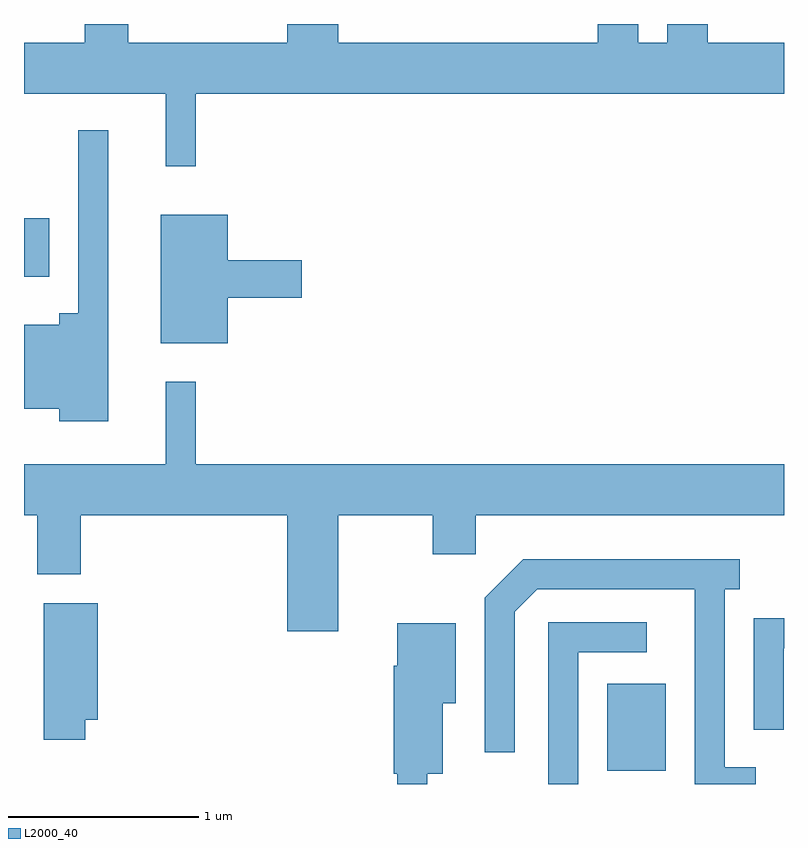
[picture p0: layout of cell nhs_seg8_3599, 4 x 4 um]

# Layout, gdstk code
import gdstk
lib = gdstk.Library(unit=1e-6, precision=1e-09)
def R(c, l, rs):  # rectangles x0, y0, x1, y1
    for r in rs: c.add(gdstk.rectangle(r[:2], r[2:], *l))
def P(c, l, *ps):  # polygons
    for p in ps: c.add(gdstk.Polygon(p, *l))
L2000_40 = (2000, 40)

nhs_seg8_3599 = lib.new_cell('nhs_seg8_3599')
R(nhs_seg8_3599, L2000_40, [(296.681,1828.411,296.989,1828.869), (293.611,1831.011,293.744,1831.319)])
P(nhs_seg8_3599, L2000_40, [(294.514,1831.976),(297.611,1831.976),(297.611,1832.244),(297.209,1832.244),(297.209,1832.342),(296.996,1832.342),(296.996,1832.244),(296.844,1832.244),(296.844,1832.342),(296.631,1832.342),(296.631,1832.244),(295.264,1832.244),(295.264,1832.342),(294.996,1832.342),(294.996,1832.244),(294.159,1832.244),(294.159,1832.342),(293.931,1832.342),(293.931,1832.244),(293.611,1832.244),(293.611,1831.976),(294.356,1831.976),(294.356,1831.593),(294.514,1831.593)],
  [(294.054,1831.783),(293.896,1831.783),(293.896,1830.819),(293.796,1830.819),(293.796,1830.759),(293.611,1830.759),(293.611,1830.316),(293.796,1830.316),(293.796,1830.251),(294.054,1830.251)],
  [(294.684,1830.901),(295.074,1830.901),(295.074,1831.099),(294.684,1831.099),(294.684,1831.339),(294.331,1831.339),(294.331,1830.661),(294.684,1830.661)],
  [(295.264,1829.756),(295.761,1829.756),(295.761,1829.551),(295.989,1829.551),(295.989,1829.756),(297.611,1829.756),(297.611,1830.024),(294.514,1830.024),(294.514,1830.458),(294.356,1830.458),(294.356,1830.024),(293.611,1830.024),(293.611,1829.756),(293.681,1829.756),(293.681,1829.446),(293.909,1829.446),(293.909,1829.756),(294.996,1829.756),(294.996,1829.146),(295.264,1829.146)],
  [(297.463,1828.429),(297.299,1828.429),(297.299,1829.366),(297.378,1829.366),(297.378,1829.524),(296.239,1829.524),(296.036,1829.322),(296.036,1828.508),(296.194,1828.508),(296.194,1829.249),(296.312,1829.366),(297.141,1829.366),(297.141,1828.342),(297.463,1828.342)],
  [(293.934,1828.681),(293.999,1828.681),(293.999,1829.294),(293.716,1829.294),(293.716,1828.576),(293.934,1828.576)],
  [(297.609,1829.056),(297.611,1829.056),(297.611,1829.214),(297.451,1829.214),(297.451,1828.628),(297.609,1828.628)],
  [(296.529,1829.036),(296.888,1829.036),(296.888,1829.194),(296.371,1829.194),(296.371,1828.342),(296.529,1828.342)],
  [(295.734,1828.396),(295.814,1828.396),(295.814,1828.766),(295.884,1828.766),(295.884,1829.189),(295.576,1829.189),(295.576,1828.964),(295.556,1828.964),(295.556,1828.396),(295.576,1828.396),(295.576,1828.342),(295.734,1828.342)])

lib.write_gds('nhs_seg8_3599.gds')
